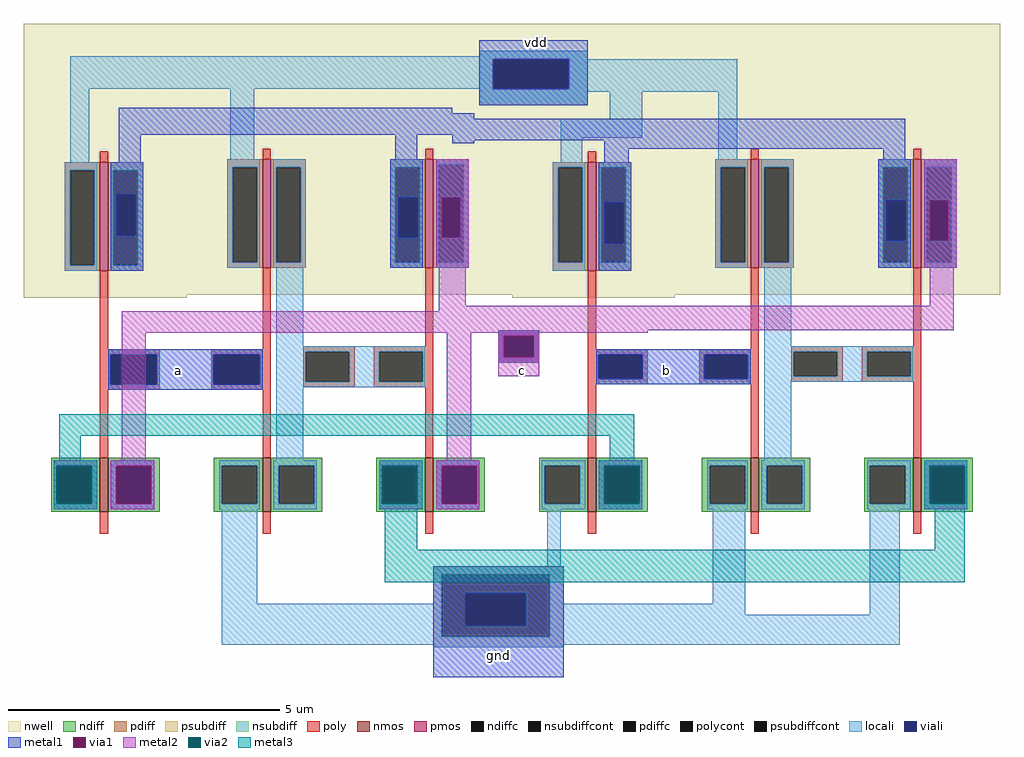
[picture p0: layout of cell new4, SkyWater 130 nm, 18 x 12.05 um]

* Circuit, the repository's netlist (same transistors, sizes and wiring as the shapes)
* SPICE3 file created from new4.ext - technology: sky130A


X0 a_300_n500# a_1005_n500# gnd gnd sky130_fd_pr__nfet_01v8 ad=0.95 pd=3.9 as=0.9 ps=3.8 w=1 l=0.15
X1 c a_105_n500# a_n195_n55# vdd sky130_fd_pr__pfet_01v8 ad=1.3 pd=5.3 as=1.3 ps=5.3 w=2 l=0.15
X2 a_n195_n55# b vdd vdd sky130_fd_pr__pfet_01v8 ad=1.3 pd=5.3 as=1.3 ps=5.3 w=2 l=0.15
X3 c a_105_n500# a_300_n500# gnd sky130_fd_pr__nfet_01v8 ad=0.95 pd=3.9 as=0.9 ps=3.8 w=1 l=0.15
X4 a_1005_n500# b vdd vdd sky130_fd_pr__pfet_01v8 ad=1.3 pd=5.3 as=1.3 ps=5.3 w=2 l=0.15
X5 a_105_n500# a vdd vdd sky130_fd_pr__pfet_01v8 ad=1.3 pd=5.3 as=1.3 ps=5.3 w=2 l=0.15
X6 a_n195_n55# a vdd vdd sky130_fd_pr__pfet_01v8 ad=1.3 pd=5.3 as=1.3 ps=5.3 w=2 l=0.15
X7 c a_1005_n500# a_n195_n55# vdd sky130_fd_pr__pfet_01v8 ad=1.3 pd=5.3 as=1.3 ps=5.3 w=2 l=0.15
X8 a_n300_n500# b gnd gnd sky130_fd_pr__nfet_01v8 ad=0.95 pd=3.9 as=0.9 ps=3.8 w=1 l=0.15
X9 a_105_n500# a gnd gnd sky130_fd_pr__nfet_01v8 ad=0.95 pd=3.9 as=0.9 ps=3.8 w=1 l=0.15
X10 c a a_n300_n500# gnd sky130_fd_pr__nfet_01v8 ad=0.95 pd=3.9 as=0.9 ps=3.8 w=1 l=0.15
X11 a_1005_n500# b gnd gnd sky130_fd_pr__nfet_01v8 ad=0.95 pd=3.9 as=0.9 ps=3.8 w=1 l=0.15

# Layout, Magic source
magic
tech sky130A
<< nwell >>
rect -350 -100 1450 400
rect -350 -105 -50 -100
rect 550 -105 850 -100
<< nmos >>
rect -210 -500 -195 -400
rect 90 -500 105 -400
rect 390 -500 405 -400
rect 690 -500 705 -400
rect 990 -500 1005 -400
rect 1290 -500 1305 -400
<< pmos >>
rect -210 -55 -195 145
rect 90 -50 105 150
rect 390 -50 405 150
rect 690 -55 705 145
rect 990 -50 1005 150
rect 1290 -50 1305 150
<< ndiff >>
rect -300 -415 -210 -400
rect -300 -485 -290 -415
rect -225 -485 -210 -415
rect -300 -500 -210 -485
rect -195 -415 -100 -400
rect -195 -485 -180 -415
rect -115 -485 -100 -415
rect -195 -500 -100 -485
rect 0 -415 90 -400
rect 0 -485 15 -415
rect 80 -485 90 -415
rect 0 -500 90 -485
rect 105 -415 200 -400
rect 105 -485 120 -415
rect 185 -485 200 -415
rect 105 -500 200 -485
rect 300 -415 390 -400
rect 300 -485 310 -415
rect 375 -485 390 -415
rect 300 -500 390 -485
rect 405 -415 500 -400
rect 405 -485 420 -415
rect 485 -485 500 -415
rect 405 -500 500 -485
rect 600 -415 690 -400
rect 600 -485 610 -415
rect 675 -485 690 -415
rect 600 -500 690 -485
rect 705 -415 800 -400
rect 705 -485 720 -415
rect 785 -485 800 -415
rect 705 -500 800 -485
rect 900 -415 990 -400
rect 900 -485 915 -415
rect 980 -485 990 -415
rect 900 -500 990 -485
rect 1005 -415 1100 -400
rect 1005 -485 1020 -415
rect 1085 -485 1100 -415
rect 1005 -500 1100 -485
rect 1200 -415 1290 -400
rect 1200 -485 1210 -415
rect 1275 -485 1290 -415
rect 1200 -500 1290 -485
rect 1305 -415 1400 -400
rect 1305 -485 1320 -415
rect 1385 -485 1400 -415
rect 1305 -500 1400 -485
<< pdiff >>
rect -275 130 -210 145
rect -275 -45 -265 130
rect -220 -45 -210 130
rect -275 -55 -210 -45
rect -195 130 -130 145
rect -195 -45 -185 130
rect -140 -45 -130 130
rect -195 -55 -130 -45
rect 25 135 90 150
rect 25 -40 35 135
rect 80 -40 90 135
rect 25 -50 90 -40
rect 105 135 170 150
rect 105 -40 115 135
rect 160 -40 170 135
rect 105 -50 170 -40
rect 325 135 390 150
rect 325 -40 335 135
rect 380 -40 390 135
rect 325 -50 390 -40
rect 405 140 470 150
rect 405 -40 415 140
rect 460 -40 470 140
rect 405 -50 470 -40
rect 625 135 690 145
rect 625 -40 635 135
rect 680 -40 690 135
rect 625 -55 690 -40
rect 705 135 770 145
rect 705 -40 715 135
rect 760 -40 770 135
rect 705 -55 770 -40
rect 925 135 990 150
rect 925 -40 935 135
rect 980 -40 990 135
rect 925 -50 990 -40
rect 1005 135 1070 150
rect 1005 -40 1015 135
rect 1060 -40 1070 135
rect 1005 -50 1070 -40
rect 1225 135 1290 150
rect 1225 -40 1235 135
rect 1280 -40 1290 135
rect 1225 -50 1290 -40
rect 1305 135 1370 150
rect 1305 -40 1315 135
rect 1360 -40 1370 135
rect 1305 -50 1370 -40
<< ndiffc >>
rect -290 -485 -225 -415
rect -180 -485 -115 -415
rect 15 -485 80 -415
rect 120 -485 185 -415
rect 310 -485 375 -415
rect 420 -485 485 -415
rect 610 -485 675 -415
rect 720 -485 785 -415
rect 915 -485 980 -415
rect 1020 -485 1085 -415
rect 1210 -485 1275 -415
rect 1320 -485 1385 -415
<< pdiffc >>
rect -265 -45 -220 130
rect -185 -45 -140 130
rect 35 -40 80 135
rect 115 -40 160 135
rect 335 -40 380 135
rect 415 -40 460 140
rect 635 -40 680 135
rect 715 -40 760 135
rect 935 -40 980 135
rect 1015 -40 1060 135
rect 1235 -40 1280 135
rect 1315 -40 1360 135
<< psubdiff >>
rect 405 -615 645 -600
rect 405 -730 420 -615
rect 620 -730 645 -615
rect 405 -750 645 -730
<< nsubdiff >>
rect 490 335 690 350
rect 490 280 515 335
rect 655 280 690 335
rect 490 250 690 280
<< psubdiffcont >>
rect 420 -730 620 -615
<< nsubdiffcont >>
rect 515 280 655 335
<< poly >>
rect -210 145 -195 165
rect 90 150 105 170
rect 390 150 405 170
rect 690 145 705 165
rect 990 150 1005 170
rect 1290 150 1305 170
rect -210 -200 -195 -55
rect 90 -200 105 -50
rect 390 -195 405 -50
rect -210 -210 -100 -200
rect -210 -265 -190 -210
rect -105 -265 -100 -210
rect -210 -275 -100 -265
rect -5 -210 105 -200
rect -5 -265 0 -210
rect 85 -265 105 -210
rect -5 -275 105 -265
rect 165 -205 260 -195
rect 165 -260 170 -205
rect 250 -260 260 -205
rect 165 -270 260 -260
rect 295 -205 405 -195
rect 295 -260 305 -205
rect 385 -260 405 -205
rect 525 -175 600 -165
rect 525 -215 535 -175
rect 590 -215 600 -175
rect 525 -225 600 -215
rect 690 -200 705 -55
rect 990 -200 1005 -50
rect 1290 -195 1305 -50
rect 690 -210 800 -200
rect 295 -270 405 -260
rect -210 -400 -195 -275
rect 90 -400 105 -275
rect 390 -400 405 -270
rect 690 -255 710 -210
rect 790 -255 800 -210
rect 690 -265 800 -255
rect 895 -210 1005 -200
rect 895 -255 905 -210
rect 985 -255 1005 -210
rect 895 -265 1005 -255
rect 1065 -205 1160 -195
rect 1065 -250 1070 -205
rect 1150 -250 1160 -205
rect 1065 -260 1160 -250
rect 1195 -205 1305 -195
rect 1195 -250 1205 -205
rect 1285 -250 1305 -205
rect 1195 -260 1305 -250
rect 690 -400 705 -265
rect 990 -400 1005 -265
rect 1290 -400 1305 -260
rect -210 -540 -195 -500
rect 90 -540 105 -500
rect 390 -540 405 -500
rect 690 -540 705 -500
rect 990 -540 1005 -500
rect 1290 -540 1305 -500
<< polycont >>
rect -190 -265 -105 -210
rect 0 -265 85 -210
rect 170 -260 250 -205
rect 305 -260 385 -205
rect 535 -215 590 -175
rect 710 -255 790 -210
rect 905 -255 985 -210
rect 1070 -250 1150 -205
rect 1205 -250 1285 -205
<< locali >>
rect 490 340 690 350
rect -265 335 690 340
rect -265 280 515 335
rect 655 280 965 335
rect -265 145 -230 280
rect 30 150 75 280
rect 490 275 965 280
rect 490 250 690 275
rect 730 225 790 275
rect 640 190 790 225
rect -275 130 -215 145
rect -275 -45 -265 130
rect -220 -45 -215 130
rect -275 -55 -215 -45
rect -190 130 -130 145
rect -190 -45 -185 130
rect -140 -45 -130 130
rect -190 -55 -130 -45
rect 25 135 85 150
rect 25 -40 35 135
rect 80 -40 85 135
rect 25 -50 85 -40
rect 110 135 170 150
rect 110 -40 115 135
rect 160 -40 170 135
rect 110 -50 170 -40
rect 325 135 385 150
rect 325 -40 335 135
rect 380 -40 385 135
rect 325 -50 385 -40
rect 410 140 470 150
rect 640 145 680 190
rect 930 150 965 275
rect 410 -40 415 140
rect 460 -40 470 140
rect 410 -50 470 -40
rect 625 135 685 145
rect 625 -40 635 135
rect 680 -40 685 135
rect 115 -195 165 -50
rect 625 -55 685 -40
rect 710 135 770 145
rect 710 -40 715 135
rect 760 -40 770 135
rect 710 -55 770 -40
rect 925 135 985 150
rect 925 -40 935 135
rect 980 -40 985 135
rect 925 -50 985 -40
rect 1010 135 1070 150
rect 1010 -40 1015 135
rect 1060 -40 1070 135
rect 1010 -50 1070 -40
rect 1225 135 1285 150
rect 1225 -40 1235 135
rect 1280 -40 1285 135
rect 1225 -50 1285 -40
rect 1310 135 1370 150
rect 1310 -40 1315 135
rect 1360 -40 1370 135
rect 1310 -50 1370 -40
rect 525 -175 600 -165
rect -195 -210 -100 -200
rect -195 -265 -190 -210
rect -105 -265 -100 -210
rect -195 -275 -100 -265
rect -5 -210 90 -200
rect -5 -265 0 -210
rect 85 -265 90 -210
rect -5 -275 90 -265
rect 115 -205 390 -195
rect 115 -260 170 -205
rect 250 -260 305 -205
rect 385 -260 390 -205
rect 525 -215 535 -175
rect 590 -215 600 -175
rect 1015 -195 1065 -50
rect 525 -225 600 -215
rect 705 -210 800 -200
rect 115 -270 390 -260
rect 705 -255 710 -210
rect 790 -255 800 -210
rect 705 -265 800 -255
rect 895 -210 990 -200
rect 895 -255 905 -210
rect 985 -255 990 -210
rect 895 -265 990 -255
rect 1015 -205 1290 -195
rect 1015 -250 1070 -205
rect 1150 -250 1205 -205
rect 1285 -250 1290 -205
rect 1015 -260 1290 -250
rect 115 -405 165 -270
rect 1015 -405 1065 -260
rect -295 -415 -215 -405
rect -295 -485 -290 -415
rect -225 -485 -215 -415
rect -295 -495 -215 -485
rect -190 -415 -110 -405
rect -190 -485 -180 -415
rect -115 -485 -110 -415
rect -190 -495 -110 -485
rect 10 -415 85 -405
rect 10 -485 15 -415
rect 80 -485 85 -415
rect 10 -495 85 -485
rect 110 -415 190 -405
rect 110 -485 120 -415
rect 185 -485 190 -415
rect 110 -495 190 -485
rect 305 -415 385 -405
rect 305 -485 310 -415
rect 375 -485 385 -415
rect 305 -495 385 -485
rect 410 -415 490 -405
rect 410 -485 420 -415
rect 485 -485 490 -415
rect 410 -495 490 -485
rect 605 -415 685 -405
rect 605 -485 610 -415
rect 675 -485 685 -415
rect 605 -495 685 -485
rect 710 -415 790 -405
rect 710 -485 720 -415
rect 785 -485 790 -415
rect 710 -495 790 -485
rect 910 -415 985 -405
rect 910 -485 915 -415
rect 980 -485 985 -415
rect 910 -495 985 -485
rect 1010 -415 1090 -405
rect 1010 -485 1020 -415
rect 1085 -485 1090 -415
rect 1010 -495 1090 -485
rect 1205 -415 1285 -405
rect 1205 -485 1210 -415
rect 1275 -485 1285 -415
rect 1205 -495 1285 -485
rect 1310 -415 1390 -405
rect 1310 -485 1320 -415
rect 1385 -485 1390 -415
rect 1310 -495 1390 -485
rect 15 -670 80 -495
rect 615 -600 640 -495
rect 405 -615 645 -600
rect 405 -670 420 -615
rect 15 -730 420 -670
rect 620 -670 645 -615
rect 920 -670 980 -495
rect 620 -690 980 -670
rect 1210 -690 1265 -495
rect 620 -730 1265 -690
rect 15 -745 1265 -730
rect 405 -750 645 -745
<< viali >>
rect 515 280 655 335
rect -180 10 -145 85
rect 340 5 375 80
rect 420 5 455 80
rect 720 -5 755 70
rect 1240 0 1275 75
rect 1320 0 1355 75
rect -190 -265 -105 -210
rect 0 -265 85 -210
rect 535 -215 590 -175
rect 710 -255 790 -210
rect 905 -255 985 -210
rect -290 -485 -225 -415
rect -180 -485 -115 -415
rect 310 -485 375 -415
rect 420 -485 485 -415
rect 720 -485 785 -415
rect 1320 -485 1385 -415
rect 465 -710 575 -650
<< metal1 >>
rect 490 335 690 370
rect 490 280 515 335
rect 655 280 690 335
rect 490 250 690 280
rect -175 235 440 245
rect -175 225 480 235
rect -175 195 1275 225
rect -175 145 -135 195
rect 335 150 375 195
rect 440 185 1275 195
rect 440 180 480 185
rect 720 170 1275 185
rect -190 85 -130 145
rect -190 10 -180 85
rect -145 10 -130 85
rect -190 -55 -130 10
rect 325 80 385 150
rect 325 5 340 80
rect 375 5 385 80
rect 325 -50 385 5
rect 410 80 470 150
rect 720 145 765 170
rect 1235 150 1275 170
rect 410 5 420 80
rect 455 5 470 80
rect 410 -50 470 5
rect 710 70 770 145
rect 710 -5 720 70
rect 755 -5 770 70
rect 710 -55 770 -5
rect 1225 75 1285 150
rect 1225 0 1240 75
rect 1275 0 1285 75
rect 1225 -50 1285 0
rect 1310 75 1370 150
rect 1310 0 1320 75
rect 1355 0 1370 75
rect 1310 -50 1370 0
rect 525 -175 600 -165
rect -195 -210 90 -200
rect -195 -265 -190 -210
rect -105 -265 0 -210
rect 85 -265 90 -210
rect 525 -215 535 -175
rect 590 -215 600 -175
rect 525 -225 600 -215
rect 705 -210 990 -200
rect 705 -255 710 -210
rect 790 -255 905 -210
rect 985 -255 990 -210
rect 705 -265 990 -255
rect -195 -275 90 -265
rect -295 -415 -215 -405
rect -295 -485 -290 -415
rect -225 -485 -215 -415
rect -295 -495 -215 -485
rect -190 -415 -110 -405
rect -190 -485 -180 -415
rect -115 -485 -110 -415
rect -190 -495 -110 -485
rect 305 -415 385 -405
rect 305 -485 310 -415
rect 375 -485 385 -415
rect 305 -495 385 -485
rect 410 -415 490 -405
rect 410 -485 420 -415
rect 485 -485 490 -415
rect 410 -495 490 -485
rect 710 -415 790 -405
rect 710 -485 720 -415
rect 785 -485 790 -415
rect 710 -495 790 -485
rect 1310 -415 1390 -405
rect 1310 -485 1320 -415
rect 1385 -485 1390 -415
rect 1310 -495 1390 -485
rect 405 -650 645 -600
rect 405 -710 465 -650
rect 575 -710 645 -650
rect 405 -805 645 -710
<< via1 >>
rect 420 5 455 80
rect 1320 0 1355 75
rect 535 -215 590 -175
rect -290 -485 -225 -415
rect -180 -485 -115 -415
rect 310 -485 375 -415
rect 420 -485 485 -415
rect 720 -485 785 -415
rect 1320 -485 1385 -415
<< metal2 >>
rect 410 80 470 150
rect 410 5 420 80
rect 455 5 470 80
rect 410 -50 470 5
rect 1310 75 1370 150
rect 1310 0 1320 75
rect 1355 0 1370 75
rect 1310 -50 1370 0
rect 415 -120 465 -50
rect 1320 -120 1365 -50
rect 415 -130 1365 -120
rect -170 -165 1365 -130
rect -170 -170 800 -165
rect -170 -405 -125 -170
rect 430 -405 475 -170
rect 525 -175 600 -170
rect 525 -215 535 -175
rect 590 -215 600 -175
rect 525 -250 600 -215
rect -295 -415 -215 -405
rect -295 -485 -290 -415
rect -225 -485 -215 -415
rect -295 -495 -215 -485
rect -190 -415 -110 -405
rect -190 -485 -180 -415
rect -115 -485 -110 -415
rect -190 -495 -110 -485
rect 305 -415 385 -405
rect 305 -485 310 -415
rect 375 -485 385 -415
rect 305 -495 385 -485
rect 410 -415 490 -405
rect 410 -485 420 -415
rect 485 -485 490 -415
rect 410 -495 490 -485
rect 710 -415 790 -405
rect 710 -485 720 -415
rect 785 -485 790 -415
rect 710 -495 790 -485
rect 1310 -415 1390 -405
rect 1310 -485 1320 -415
rect 1385 -485 1390 -415
rect 1310 -495 1390 -485
<< via2 >>
rect -290 -485 -225 -415
rect 310 -485 375 -415
rect 720 -485 785 -415
rect 1320 -485 1385 -415
<< metal3 >>
rect -285 -360 775 -320
rect -285 -405 -245 -360
rect 730 -405 775 -360
rect -295 -415 -215 -405
rect -295 -485 -290 -415
rect -225 -485 -215 -415
rect -295 -495 -215 -485
rect 305 -415 385 -405
rect 305 -485 310 -415
rect 375 -485 385 -415
rect 305 -495 385 -485
rect 710 -415 790 -405
rect 710 -485 720 -415
rect 785 -485 790 -415
rect 710 -495 790 -485
rect 1310 -415 1390 -405
rect 1310 -485 1320 -415
rect 1385 -485 1390 -415
rect 1310 -495 1390 -485
rect 315 -570 375 -495
rect 1330 -570 1385 -495
rect 315 -630 1385 -570
<< labels >>
rlabel metal2 570 -240 570 -240 1 c
port 1 n
rlabel metal1 835 -240 835 -240 1 b
port 2 n
rlabel metal1 -65 -240 -65 -240 1 a
port 4 n
rlabel metal1 595 365 595 365 1 vdd
port 5 n
rlabel metal1 525 -765 525 -765 1 gnd
port 3 n
<< end >>
